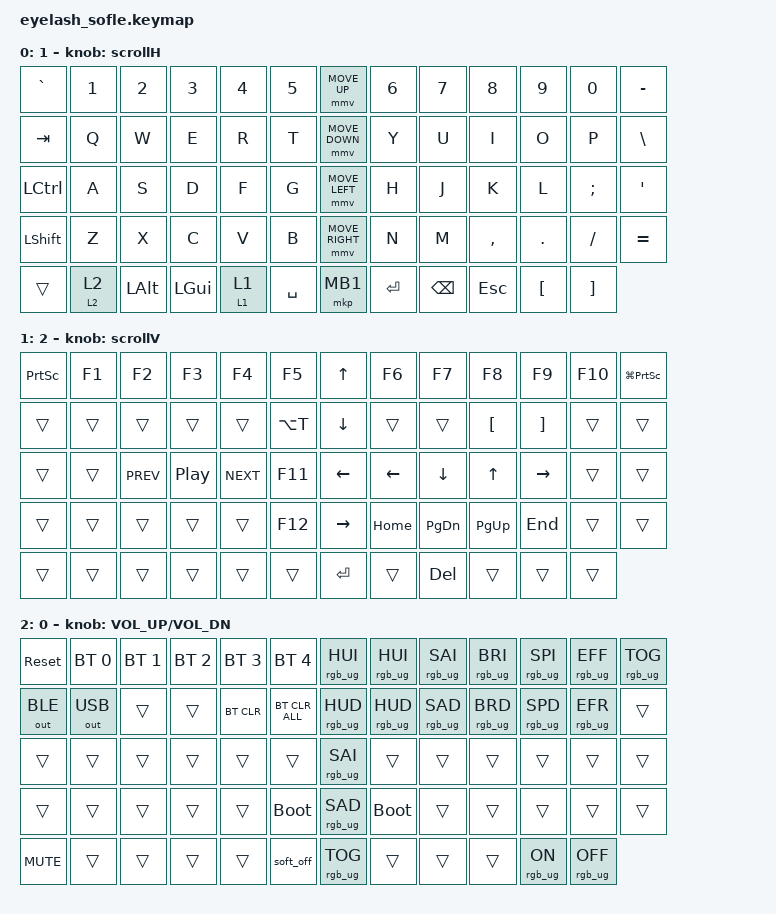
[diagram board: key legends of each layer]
#define ZMK_POINTING_DEFAULT_MOVE_VAL 1200  // 600
#define ZMK_POINTING_DEFAULT_SCRL_VAL 25   // 10

#include <input/processors.dtsi>
#include <zephyr/dt-bindings/input/input-event-codes.h>
#include <behaviors.dtsi>
#include <dt-bindings/zmk/bt.h>
#include <dt-bindings/zmk/keys.h>
#include <dt-bindings/zmk/outputs.h>
#include <dt-bindings/zmk/pointing.h>
#include <dt-bindings/zmk/rgb.h>

&mmv_input_listener { input-processors = <&zip_xy_scaler 2 1>; };

&msc_input_listener { input-processors = <&zip_scroll_scaler 2 1>; };

&msc {
    acceleration-exponent = <1>;      // 0
    time-to-max-speed-ms = <100>;       // 300
    delay-ms = <0>;                   // 0
};

&mmv {
    time-to-max-speed-ms = <500>;
    acceleration-exponent = <1>;
    trigger-period-ms = <16>;
};

/ {
    HoldTap: HoldTap {
        compatible = "zmk,behavior-hold-tap";
        label = "HOLDTAP";
        bindings = <&kp>, <&kp>;

        #binding-cells = <2>;
        flavor = "tap-preferred";
        tapping-term-ms = <400>;
    };

    holdToLayer: holdToLayer {
        compatible = "zmk,behavior-hold-tap";
        label = "HOLDTOLAYER";
        bindings = <&mo>, <&kp>;

        #binding-cells = <2>;
        tapping-term-ms = <400>;
        flavor = "tap-preferred";
    };

    holdTapLayer: holdTapLayer {
        compatible = "zmk,behavior-hold-tap";
        label = "HOLDTAPLAYER";
        bindings = <&mo>, <&sl>;

        #binding-cells = <2>;
        tapping-term-ms = <400>;
        flavor = "tap-preferred";
    };

    altTsupT: altTsupT {
        compatible = "zmk,behavior-tap-dance";
        label = "ALTTSUPT";
        #binding-cells = <0>;
        bindings = <&kp LA(T)>, <&kp LG(T)>;

        tapping-term-ms = <300>;
    };

    scrollH: scrollH {
        compatible = "zmk,behavior-sensor-rotate";
        label = "SCROLLH";
        #sensor-binding-cells = <0>;
        bindings = <&msc SCRL_DOWN>, <&msc SCRL_UP>;

        tap-ms = <100>;
    };

    scrollV: scrollV {
        compatible = "zmk,behavior-sensor-rotate";
        label = "SCROLLV";
        #sensor-binding-cells = <0>;
        bindings = <&msc SCRL_RIGHT>, <&msc SCRL_LEFT>;

        tap-ms = <100>;
    };

    combos {
        compatible = "zmk,combos";

        print {
            bindings = <&kp PRINTSCREEN>;
            key-positions = <59 51>;
        };

        print+super {
            bindings = <&kp LG(PRINTSCREEN)>;
            key-positions = <57 39>;
        };

        SLConfig {
            bindings = <&sl 2>;
            key-positions = <1 2 3 4 57>;
        };
    };

    behaviors {
    };

    keymap {
        compatible = "zmk,keymap";

        Main {
            bindings = <
&kp GRAVE  &kp N1             &kp N2        &kp N3        &kp N4             &kp N5       &mmv MOVE_UP     &kp N6     &kp N7         &kp N8     &kp N9    &kp N0    &kp MINUS
&kp TAB    &kp Q              &kp W         &kp E         &kp R              &kp T        &mmv MOVE_DOWN   &kp Y      &kp U          &kp I      &kp O     &kp P     &kp BSLH
&kp LCTRL  &kp A              &kp S         &kp D         &kp F              &kp G        &mmv MOVE_LEFT   &kp H      &kp J          &kp K      &kp L     &kp SEMI  &kp APOS
&kp LSHFT  &kp Z              &kp X         &kp C         &kp V              &kp B        &mmv MOVE_RIGHT  &kp N      &kp M          &kp COMMA  &kp DOT   &kp FSLH  &kp EQUAL
&trans     &holdTapLayer 2 2  &kp LEFT_ALT  &kp LEFT_GUI  &holdTapLayer 1 1  &kp SPACE    &mkp MB1         &kp ENTER  &kp BACKSPACE  &kp ESC    &kp LBKT  &kp RBKT
            >;

            sensor-bindings = <&scrollH>;
            display-name = "1";
        };

        Support {
            bindings = <
&kp PRINTSCREEN  &kp F1  &kp F2      &kp F3            &kp F4      &kp F5       &kp UP_ARROW    &kp F6          &kp F7     &kp F8        &kp F9             &kp F10  &kp LG(PRINTSCREEN)
&trans           &trans  &trans      &trans            &trans      &kp LA(T)    &kp DOWN_ARROW  &trans          &trans     &kp LBKT      &kp RIGHT_BRACKET  &trans   &trans
&trans           &trans  &kp C_PREV  &kp C_PLAY_PAUSE  &kp C_NEXT  &kp F11      &kp LEFT_ARROW  &kp LEFT_ARROW  &kp DOWN   &kp UP_ARROW  &kp RIGHT          &trans   &trans
&trans           &trans  &trans      &trans            &trans      &kp F12      &kp RIGHT       &kp HOME        &kp PG_DN  &kp PG_UP     &kp END            &trans   &trans
&trans           &trans  &trans      &trans            &trans      &trans       &kp ENTER       &trans          &kp DEL    &trans        &trans             &trans
            >;

            display-name = "2";
            sensor-bindings = <&scrollV>;
        };

        Config {
            bindings = <
&sys_reset    &bt BT_SEL 0  &bt BT_SEL 1  &bt BT_SEL 2  &bt BT_SEL 3  &bt BT_SEL 4      &rgb_ug RGB_HUI  &rgb_ug RGB_HUI  &rgb_ug RGB_SAI  &rgb_ug RGB_BRI  &rgb_ug RGB_SPI  &rgb_ug RGB_EFF  &rgb_ug RGB_TOG
&out OUT_BLE  &out OUT_USB  &trans        &trans        &bt BT_CLR    &bt BT_CLR_ALL    &rgb_ug RGB_HUD  &rgb_ug RGB_HUD  &rgb_ug RGB_SAD  &rgb_ug RGB_BRD  &rgb_ug RGB_SPD  &rgb_ug RGB_EFR  &trans
&trans        &trans        &trans        &trans        &trans        &trans            &rgb_ug RGB_SAI  &trans           &trans           &trans           &trans           &trans           &trans
&trans        &trans        &trans        &trans        &trans        &bootloader       &rgb_ug RGB_SAD  &bootloader      &trans           &trans           &trans           &trans           &trans
&kp K_MUTE    &trans        &trans        &trans        &trans        &soft_off         &rgb_ug RGB_TOG  &trans           &trans           &trans           &rgb_ug RGB_ON   &rgb_ug RGB_OFF
            >;

            sensor-bindings = <&inc_dec_kp C_VOLUME_UP C_VOL_DN>;
            label = "0";
        };
    };
};
